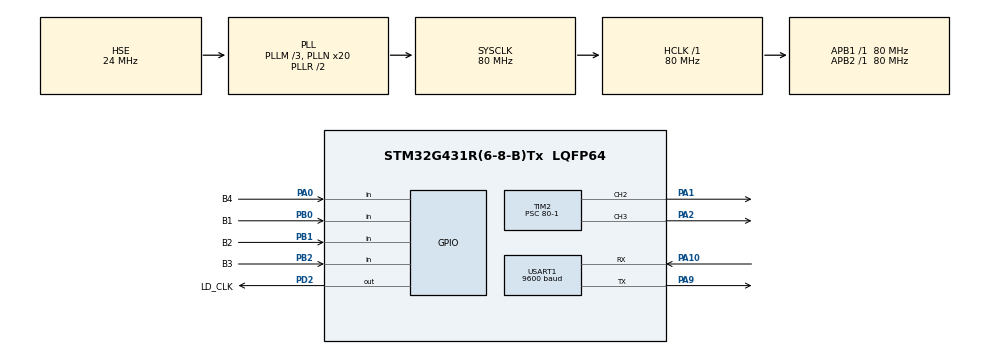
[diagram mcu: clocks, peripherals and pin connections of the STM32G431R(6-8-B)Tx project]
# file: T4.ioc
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Mcu.Family=STM32G4
Mcu.Name=STM32G431R(6-8-B)Tx
Mcu.Package=LQFP64
NVIC.PriorityGroup=NVIC_PRIORITYGROUP_4
NVIC.TIM4_IRQn=true\:0\:0\:false\:false\:true\:true\:true
NVIC.USART1_IRQn=true\:0\:0\:false\:false\:true\:true\:true
PA0.GPIO_Label=B4
PA0.Signal=GPIO_Input
PA1.Signal=S_TIM2_CH2
PA10.Mode=Asynchronous
PA10.Signal=USART1_RX
PA2.Signal=S_TIM2_CH3
PA9.Mode=Asynchronous
PA9.Signal=USART1_TX
PB0.GPIO_Label=B1
PB0.Signal=GPIO_Input
PB1.GPIO_Label=B2
PB1.Signal=GPIO_Input
PB2.GPIO_Label=B3
PB2.Signal=GPIO_Input
PD2.GPIO_Label=LD_CLK
PD2.Signal=GPIO_Output
PF0-OSC_IN.Mode=HSE-External-Oscillator
PF0-OSC_IN.Signal=RCC_OSC_IN
PF1-OSC_OUT.Mode=HSE-External-Oscillator
PF1-OSC_OUT.Signal=RCC_OSC_OUT
ProjectManager.HeapSize=0x200
ProjectManager.StackSize=0x400
ProjectManager.TargetToolchain=MDK-ARM V5.27
RCC.ADC12Freq_Value=80000000
RCC.AHBFreq_Value=80000000
RCC.APB1Freq_Value=80000000
RCC.APB1TimFreq_Value=80000000
RCC.APB2Freq_Value=80000000
RCC.APB2TimFreq_Value=80000000
RCC.CortexFreq_Value=80000000
RCC.EXTERNAL_CLOCK_VALUE=12288000
RCC.HCLKFreq_Value=80000000
RCC.HSE_VALUE=24000000
RCC.HSI48_VALUE=48000000
RCC.HSI_VALUE=16000000
RCC.LSE_VALUE=32768
RCC.PLLM=RCC_PLLM_DIV3
RCC.PLLN=20
RCC.PLLSourceVirtual=RCC_PLLSOURCE_HSE
RCC.SYSCLKFreq_VALUE=80000000
RCC.SYSCLKSource=RCC_SYSCLKSOURCE_PLLCLK
RCC.USBFreq_Value=80000000
RCC.VCOOutputFreq_Value=160000000
RTC.Hours=23
RTC.Minutes=59
RTC.Seconds=50
SH.S_TIM2_CH2.0=TIM2_CH2,PWM Generation2 CH2
SH.S_TIM2_CH3.0=TIM2_CH3,PWM Generation3 CH3
TIM2.Channel-PWM\ Generation2\ CH2=TIM_CHANNEL_2
TIM2.Channel-PWM\ Generation3\ CH3=TIM_CHANNEL_3
TIM2.OCPolarity_2=TIM_OCPOLARITY_HIGH
TIM2.OCPolarity_3=TIM_OCPOLARITY_HIGH
TIM2.PeriodNoDither=1000
TIM2.Prescaler=80-1
TIM2.PulseNoDither_2=800
TIM2.PulseNoDither_3=100
TIM4.PeriodNoDither=1000-1
TIM4.Prescaler=80-1
USART1.BaudRate=9600
USART1.VirtualMode-Asynchronous=VM_ASYNC
VP_RTC_VS_RTC_Activate.Mode=RTC_Enabled
VP_RTC_VS_RTC_Calendar.Mode=RTC_Calendar
VP_SYS_VS_DBSignals.Mode=DisableDeadBatterySignals
VP_TIM4_VS_ClockSourceINT.Mode=Internal
board=custom

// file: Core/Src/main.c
/* USER CODE BEGIN Header */
/**
  ******************************************************************************
  * @file           : main.c
  * @brief          : Main program body
  ******************************************************************************
  * @attention
  *
  * <h2><center>&copy; Copyright (c) 2021 STMicroelectronics.
  * All rights reserved.</center></h2>
  *
  * This software component is licensed by ST under BSD 3-Clause license,
  * the "License"; You may not use this file except in compliance with the
  * License. You may obtain a copy of the License at:
  *                        opensource.org/licenses/BSD-3-Clause
  *
  ******************************************************************************
  */
/* USER CODE END Header */
#include "main.h"
#include "rtc.h"
#include "tim.h"
#include "usart.h"
#include "gpio.h"

/* USER CODE BEGIN Includes */
#include "stdio.h"
#include "string.h"
#include "lcd.h"
#include "i2c.h"
/* USER CODE END Includes */

/* USER CODE BEGIN PM */
#define KB1 HAL_GPIO_ReadPin(B1_GPIO_Port, B1_Pin)
#define KB2 HAL_GPIO_ReadPin(B2_GPIO_Port, B2_Pin)
#define KB3 HAL_GPIO_ReadPin(B3_GPIO_Port, B3_Pin)
#define KB4 HAL_GPIO_ReadPin(B4_GPIO_Port, B4_Pin)
/* USER CODE END PM */

/* USER CODE BEGIN PV */
_Bool Key_Flag = 0;//按键的标志位
_Bool PA1_Flag = 0;
_Bool PA2_Flag = 0;
_Bool rx_Flag = 0;
_Bool rx_er_Flag = 0;
_Bool Command_Flag = 0;//是否有命令的标志位
uint8_t x, y;
uint16_t Led_Val;
RTC_TimeTypeDef sTime;
RTC_DateTypeDef sDate;
uint8_t PA1_Val;//PA1通道的
uint8_t PA2_Val;//PA2通道的
uint16_t Hour, Min, Sec, SubSec;//时间
uint16_t hh, mm, ss;//开始的时间
uint8_t Current_Channel;//当前输出的通道，为0时即没有输出
uint8_t rx_data[15];
/* USER CODE END PV */

void SystemClock_Config(void);

/* USER CODE BEGIN 0 */
int fputc(int ch, FILE *f)
{
	HAL_UART_Transmit(&huart1, (uint8_t *)&ch, 1, HAL_MAX_DELAY);
	return ch;
}
uint8_t ee_read(uint8_t address)
{
	uint8_t val;
	I2CStart();
	I2CSendByte(0xa0);
	I2CWaitAck();

	I2CSendByte(address);
	I2CWaitAck();

	I2CStart();
	I2CSendByte(0xa1);
	I2CWaitAck();
	val = I2CReceiveByte();
	I2CWaitAck();
	I2CStop();
	return val;
}

void ee_write(uint8_t address, uint8_t val)
{
	I2CStart();
	I2CSendByte(0xa0);
  I2CWaitAck();

  I2CSendByte(address);
  I2CWaitAck();

  I2CSendByte(val);
  I2CWaitAck();
  I2CStop();
}
//控制LED
void TurnOff_LEDS()
{
	Led_Val = 0xFF00;
	HAL_GPIO_WritePin(LD_CLK_GPIO_Port, LD_CLK_Pin, GPIO_PIN_SET);
	GPIOC->ODR = (uint32_t)Led_Val;
	HAL_GPIO_WritePin(LD_CLK_GPIO_Port, LD_CLK_Pin, GPIO_PIN_RESET);
}
void TurnOn_LED(uint8_t i)
{
	Led_Val &= ~(0x01<<(7+i));
	HAL_GPIO_WritePin(LD_CLK_GPIO_Port, LD_CLK_Pin, GPIO_PIN_SET);
	GPIOC->ODR = (uint32_t)Led_Val;
	HAL_GPIO_WritePin(LD_CLK_GPIO_Port, LD_CLK_Pin, GPIO_PIN_RESET);
}
void TurnOff_LED(uint8_t i)
{
	Led_Val |= (0x01<<(7+i));
	HAL_GPIO_WritePin(LD_CLK_GPIO_Port, LD_CLK_Pin, GPIO_PIN_SET);
	GPIOC->ODR = (uint32_t)Led_Val;
	HAL_GPIO_WritePin(LD_CLK_GPIO_Port, LD_CLK_Pin, GPIO_PIN_RESET);
}
void Key_Proc()
{
	//按键1 PA1输出PWM调整
	static uint8_t b1_sum;
	if(KB1 == 0)
	{
		b1_sum++;
	}
	if(KB1 == 1)
	{
		if(b1_sum >= 1)
		{
			PA1_Flag = !PA1_Flag;
			if(PA1_Flag)
			{
				TurnOn_LED(1);
				HAL_TIM_PWM_Start(&htim2, TIM_CHANNEL_2);
				__HAL_TIM_SET_COMPARE(&htim2, TIM_CHANNEL_2, PA1_Val*10);

				//防止PA2开启
				TurnOff_LED(2);
				PA2_Flag = 0;
				HAL_TIM_PWM_Stop(&htim2, TIM_CHANNEL_3);
			}else if(!PA1_Flag)
			{
				TurnOff_LED(1);
				HAL_TIM_PWM_Stop(&htim2, TIM_CHANNEL_2);
			}
		}
		b1_sum = 0;
	}

	//按键2 PA1调整占空比
	static uint8_t b2_sum;
	if(KB2 == 0)
	{
		b2_sum++;
		if(b2_sum == 1)
		{
			PA1_Val += 10;
			if(PA1_Val == 110)
			{
				PA1_Val = 0;
			}
			ee_write(0x01, PA1_Val);
			if(PA1_Flag)//如果PA1开启的话
			{
				__HAL_TIM_SET_COMPARE(&htim2, TIM_CHANNEL_2, PA1_Val*10);
			}
		}
	}
	if(KB2 == 1)
	{
		b2_sum = 0;
	}

	//按键3 PA2输出PWM调整
	static uint8_t b3_sum;
	if(KB3 == 0)
	{
		b3_sum++;
	}
	if(KB3 == 1)
	{
		if(b3_sum >= 1)
		{
			PA2_Flag = !PA2_Flag;
			if(PA2_Flag)
			{
				TurnOn_LED(2);
				HAL_TIM_PWM_Start(&htim2, TIM_CHANNEL_3);
				__HAL_TIM_SET_COMPARE(&htim2, TIM_CHANNEL_3, PA2_Val*10);

				//防止PA1开启
				PA1_Flag = 0;
				HAL_TIM_PWM_Stop(&htim2, TIM_CHANNEL_2);
				TurnOff_LED(1);
			}else if(!PA2_Flag)
			{
				TurnOff_LED(2);
				HAL_TIM_PWM_Stop(&htim2, TIM_CHANNEL_3);
			}
		}
		b3_sum = 0;
	}

	//按键4 PA2调整占空比
	static uint8_t b4_sum;
	if(KB4 == 0)
	{
		b4_sum++;
		if(b4_sum == 1)
		{
			PA2_Val += 10;
			ee_write(0x02, PA2_Val);
			if(PA2_Val == 110)
			{
				PA2_Val = 0;
			}
			if(PA2_Flag)//如果PA2开启的话
			{
				__HAL_TIM_SET_COMPARE(&htim2, TIM_CHANNEL_3, PA2_Val*10);
			}
		}
	}
	if(KB4 == 1)
	{
		b4_sum = 0;
	}
}
void Display_Porc()
{
	uint8_t buf[30];
	sprintf((char *)buf, "  PWM-PA1: %02d%%  ", PA1_Val);
	LCD_DisplayStringLine(Line1, buf);

	sprintf((char *)buf, "  PWM-PA2: %02d%%  ", PA2_Val);
	LCD_DisplayStringLine(Line2, buf);

	HAL_RTC_GetTime(&hrtc, &sTime, FORMAT_BIN);
	HAL_RTC_GetDate(&hrtc, &sDate, FORMAT_BIN);
	Hour = sTime.Hours;
	Min = sTime.Minutes;
	Sec = sTime.Seconds;
	SubSec = sTime.SubSeconds;
	sprintf((char *)buf, "  Time:%02d: %02d: %02d", Hour, Min, Sec);
	LCD_DisplayStringLine(Line3, buf);

	if(Current_Channel == 0)
	{
		sprintf((char *)buf, "  Channel:None  ");
	}else{
		sprintf((char *)buf, "  Channel:PA%d  ", Current_Channel);
	}
	LCD_DisplayStringLine(Line4, buf);

	LCD_DisplayStringLine(Line5, (uint8_t *)"  Command:");

}
/* USER CODE END 0 */

int main(void)
{

  /* MCU Configuration--------------------------------------------------------*/

  /* Reset of all peripherals, Initializes the Flash interface and the Systick. */
  HAL_Init();

  /* Configure the system clock */
  SystemClock_Config();

  /* Initialize all configured peripherals */
  MX_GPIO_Init();
  MX_TIM2_Init();
  MX_TIM4_Init();
  MX_USART1_UART_Init();
  MX_RTC_Init();
  /* USER CODE BEGIN 2 */
	//启动定时器
	HAL_TIM_Base_Start_IT(&htim4);
	//开启中断接收
	HAL_UART_Receive_IT(&huart1, rx_data, 15);
	//初始化I2C
	I2CInit();
	if(ee_read(0x20 == 'T') && ee_read(0x21) == '4')
	{
		PA1_Val = ee_read(0x01);
		PA2_Val = ee_read(0x02);
	}else{
		ee_write(0x20, 'T');
		HAL_Delay(5);
		ee_write(0x21, '4');
		HAL_Delay(5);
		ee_write(0x01, 80);
		HAL_Delay(5);
		ee_write(0x02, 10);
		HAL_Delay(5);
	}
	__HAL_TIM_SET_COMPARE(&htim2, TIM_CHANNEL_2, PA1_Val*10);
	__HAL_TIM_SET_COMPARE(&htim2, TIM_CHANNEL_3, PA2_Val*10);
	//初始化LCD
	LCD_Init();
	LCD_Clear(White);
	LCD_SetTextColor(Black);
	LCD_DisplayStringLine(Line6, (uint8_t *)"        None       ");

	TurnOff_LEDS();
  /* USER CODE END 2 */

  /* Infinite loop */
  /* USER CODE BEGIN WHILE */
  while (1)
  {
		Display_Porc();
    /* USER CODE END WHILE */

    /* USER CODE BEGIN 3 */
		if(Command_Flag)
		{
			//初次计时
			if(Hour == hh && Min == mm && Sec == ss)
			{
				HAL_TIM_PWM_Stop(&htim2, TIM_CHANNEL_2);
				HAL_TIM_PWM_Stop(&htim2, TIM_CHANNEL_3);
				TurnOff_LED(1);
				TurnOff_LED(2);
				Current_Channel = 0;
				PA1_Flag = 0;
				PA2_Flag = 0;
				if(x == 1)
				{
					PA1_Flag = 1;
					TurnOn_LED(1);
					HAL_TIM_PWM_Start(&htim2, TIM_CHANNEL_2);
				}
				if(x == 2)
				{
					PA2_Flag = 1;
					TurnOn_LED(2);
					HAL_TIM_PWM_Start(&htim2, TIM_CHANNEL_3);
				}
			}

			//到达计时
			if(Hour == hh && Min == mm && Sec == ss + y)
			{
				HAL_TIM_PWM_Stop(&htim2, TIM_CHANNEL_2);
				HAL_TIM_PWM_Stop(&htim2, TIM_CHANNEL_3);
				TurnOff_LED(1);
				TurnOff_LED(2);
				Current_Channel = 0;
				PA1_Flag = 0;
				PA2_Flag = 0;
				Command_Flag = 0;
			}
		}

		if(rx_er_Flag)
		{
			rx_er_Flag = 0;
			memset(rx_data, 0, sizeof(rx_data));
			LCD_DisplayStringLine(Line6, (uint8_t *)"        Error       ");
		}
		if(rx_Flag)
		{
			rx_Flag = 0;
			if(rx_data[11]== '1' || rx_data[11] == '2')
			{
				if(rx_data[13] - '0' > 0 && rx_data[13] - '0' < 10)
				{
					x = rx_data[11] - '0';
					y = rx_data[13] - '0';
					hh = (rx_data[0] - '0') * 10 + (rx_data[1] - '0');
					mm = (rx_data[3] - '0') * 10 + (rx_data[4] - '0');
					ss = (rx_data[6] - '0') * 10 + (rx_data[7] - '0');
					Command_Flag = 1;

					uint8_t buf[30];
					sprintf((char *)buf, "   %s      ", rx_data);
					LCD_DisplayStringLine(Line6, buf);
				}else{
					rx_er_Flag = 1;
				}
			}else{
				rx_er_Flag = 1;
			}
		}

		if(PA1_Flag)
		{
			Current_Channel = 1;
		}
		if(PA2_Flag)
		{
			Current_Channel = 2;
		}
		if(!PA1_Flag && !PA2_Flag)
		{
			Current_Channel = 0;
		}
		if(Key_Flag)
		{
			Key_Flag = 0;
			Key_Proc();
		}
  }
  /* USER CODE END 3 */
}

void SystemClock_Config(void)
{
  RCC_OscInitTypeDef RCC_OscInitStruct = {0};
  RCC_ClkInitTypeDef RCC_ClkInitStruct = {0};
  RCC_PeriphCLKInitTypeDef PeriphClkInit = {0};

  /** Configure the main internal regulator output voltage
  */
  HAL_PWREx_ControlVoltageScaling(PWR_REGULATOR_VOLTAGE_SCALE1);
  /** Initializes the RCC Oscillators according to the specified parameters
  * in the RCC_OscInitTypeDef structure.
  */
  RCC_OscInitStruct.OscillatorType = RCC_OSCILLATORTYPE_LSI|RCC_OSCILLATORTYPE_HSE;
  RCC_OscInitStruct.HSEState = RCC_HSE_ON;
  RCC_OscInitStruct.LSIState = RCC_LSI_ON;
  RCC_OscInitStruct.PLL.PLLState = RCC_PLL_ON;
  RCC_OscInitStruct.PLL.PLLSource = RCC_PLLSOURCE_HSE;
  RCC_OscInitStruct.PLL.PLLM = RCC_PLLM_DIV3;
  RCC_OscInitStruct.PLL.PLLN = 20;
  RCC_OscInitStruct.PLL.PLLP = RCC_PLLP_DIV2;
  RCC_OscInitStruct.PLL.PLLQ = RCC_PLLQ_DIV2;
  RCC_OscInitStruct.PLL.PLLR = RCC_PLLR_DIV2;
  if (HAL_RCC_OscConfig(&RCC_OscInitStruct) != HAL_OK)
  {
    Error_Handler();
  }
  /** Initializes the CPU, AHB and APB buses clocks
  */
  RCC_ClkInitStruct.ClockType = RCC_CLOCKTYPE_HCLK|RCC_CLOCKTYPE_SYSCLK
                              |RCC_CLOCKTYPE_PCLK1|RCC_CLOCKTYPE_PCLK2;
  RCC_ClkInitStruct.SYSCLKSource = RCC_SYSCLKSOURCE_PLLCLK;
  RCC_ClkInitStruct.AHBCLKDivider = RCC_SYSCLK_DIV1;
  RCC_ClkInitStruct.APB1CLKDivider = RCC_HCLK_DIV1;
  RCC_ClkInitStruct.APB2CLKDivider = RCC_HCLK_DIV1;

  if (HAL_RCC_ClockConfig(&RCC_ClkInitStruct, FLASH_LATENCY_2) != HAL_OK)
  {
    Error_Handler();
  }
  /** Initializes the peripherals clocks
  */
  PeriphClkInit.PeriphClockSelection = RCC_PERIPHCLK_RTC|RCC_PERIPHCLK_USART1;
  PeriphClkInit.Usart1ClockSelection = RCC_USART1CLKSOURCE_PCLK2;
  PeriphClkInit.RTCClockSelection = RCC_RTCCLKSOURCE_LSI;

  if (HAL_RCCEx_PeriphCLKConfig(&PeriphClkInit) != HAL_OK)
  {
    Error_Handler();
  }
}

/* USER CODE BEGIN 4 */
void HAL_TIM_PeriodElapsedCallback(TIM_HandleTypeDef *htim)
{
	HAL_TIM_Base_Start_IT(&htim4);
	if(htim->Instance == TIM4)
	{
		static uint8_t key_count;
		if(++key_count == 10)
		{
			key_count = 0;
			Key_Flag = 1;
		}
	}
}

void HAL_UART_RxCpltCallback(UART_HandleTypeDef *huart)
{
	if(huart->Instance == USART1)
	{
		if(rx_data[2] == ':' && rx_data[5] == ':' && rx_data[8] == '-' && rx_data[12] == '-')
		{
			rx_Flag = 1;
		}else{
			rx_er_Flag = 1;

		}
		HAL_UART_Receive_IT(&huart1, rx_data, 15);
	}
}
/* USER CODE END 4 */

void Error_Handler(void)
{
  __disable_irq();
  while (1)
  {
  }
}

/************************ (C) COPYRIGHT STMicroelectronics *****END OF FILE****/
